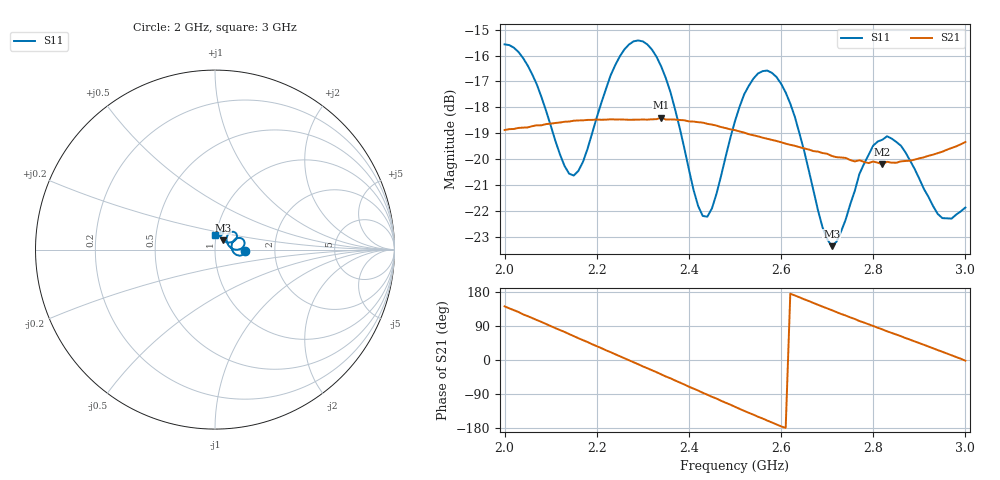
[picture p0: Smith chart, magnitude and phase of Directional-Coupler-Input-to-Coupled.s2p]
# HZ S RI R 50
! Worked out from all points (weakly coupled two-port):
!   101 points, 2 GHz to 3 GHz, reference 50 ohm
!   highest |S21| = -18.39 dB at 2.34 GHz (marker M1); lowest = -20.2 dB at 2.82 GHz (marker M2)
!   lowest |S11| = -23.3 dB at 2.71 GHz (marker M3), VSWR 1.15, Z = 54.4 + j5.57 ohm
!   |S11| at or under -10 dB: start of sweep to end of sweep
!   S12 and S22 are empty: the file has one direction only
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2e9  0.1662 -0.0105  -0.0892 0.0707  0 0  0 0
2.06e9  0.1419 -0.0332  -0.0409 0.1084  0 0  0 0
2.14e9  0.0938 0.0031  0.0434 0.11  0 0  0 0
2.17e9  0.094 0.0306  0.0726 0.0941  0 0  0 0
2.23e9  0.1297 0.0649  0.1117 0.0422  0 0  0 0
2.26e9  0.1512 0.0605  0.1189 0.00959  0 0  0 0
2.3e9  0.1648 0.0364  0.1142 -0.0346  0 0  0 0
2.34e9  0.1506 0.00866  0.0948 -0.0741  0 0  0 0
2.43e9  0.0728 0.0273  0.00722 -0.1175  0 0  0 0
2.45e9  0.0653 0.047  -0.0146 -0.1157  0 0  0 0
2.5e9  0.0774 0.0897  -0.0628 -0.0949  0 0  0 0
2.54e9  0.1031 0.0992  -0.0902 -0.0651  0 0  0 0
2.58e9  0.1215 0.0824  -0.1052 -0.0286  0 0  0 0
2.62e9  0.1153 0.0555  -0.1062 0.0092  0 0  0 0
2.67e9  0.0779 0.0393  -0.0903 0.051  0 0  0 0
2.69e9  0.0603 0.0427  -0.0797 0.0649  0 0  0 0
2.71e9  0.0451 0.051  -0.0674 0.0759  0 0  0 0
2.78e9  0.0291 0.0936  -0.0151 0.0977  0 0  0 0
2.82e9  0.0384 0.1021  0.0157 0.0966  0 0  0 0
2.84e9  0.0431 0.1008  0.0312 0.0934  0 0  0 0
2.94e9  0.0216 0.0754  0.0923 0.0453  0 0  0 0
3e9  -0.00156 0.0807  0.1079 -0.00337  0 0  0 0
